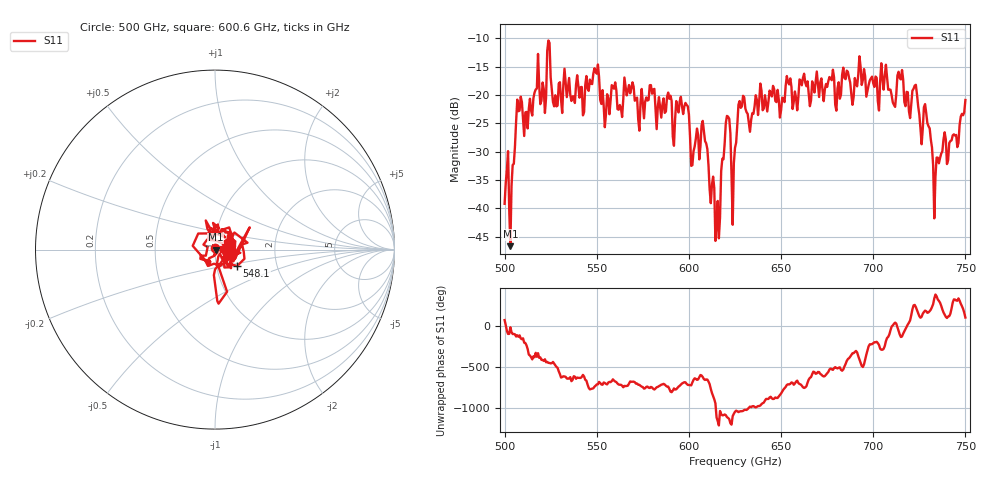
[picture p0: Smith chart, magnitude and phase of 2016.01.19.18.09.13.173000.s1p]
!Created with skrf (http://scikit-rf.org).
# GHz S RI R 50.0
!freq ReS11 ImS11
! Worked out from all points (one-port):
!   401 points, 500 GHz to 750 GHz, reference 50 ohm
!   lowest |S11| = -46.7 dB at 503.1 GHz (marker M1), VSWR 1.01, Z = 50.5 - j0.0922 ohm
!   |S11| at or under -10 dB: start of sweep to end of sweep
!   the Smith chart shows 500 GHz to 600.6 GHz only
!   S11 on the Smith chart (normalised r, x): 500 GHz: 1.00, +0.02; 548.1 GHz: 1.26, -0.24; 600.6 GHz: 1.09, +0.00
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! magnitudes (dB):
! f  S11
! 500 GHz  -39.2
! 503.1 GHz  -46.7
! 508.1 GHz  -22.8
! 521.2 GHz  -19.0
! 524.4 GHz  -10.8
! 527.5 GHz  -20.1
! 531.2 GHz  -23.2
! 548.1 GHz  -16.3
! 562.5 GHz  -21.8
! 566.2 GHz  -20.1
! 593.8 GHz  -22.2
! 598.8 GHz  -21.8
! 600.6 GHz  -27.5
! 608.1 GHz  -26.4
! 615.6 GHz  -38.7
! 620.6 GHz  -23.7
! 625 GHz  -29.3
! 628.8 GHz  -22.0
! 633.8 GHz  -24.4
! 656.2 GHz  -22.5
! 687.5 GHz  -17.8
! 705.6 GHz  -19.1
! 711.2 GHz  -21.8
! 714.4 GHz  -17.0
! 718.8 GHz  -19.5
! 728.8 GHz  -23.2
! 733.8 GHz  -34.5
! 750 GHz  -20.9
